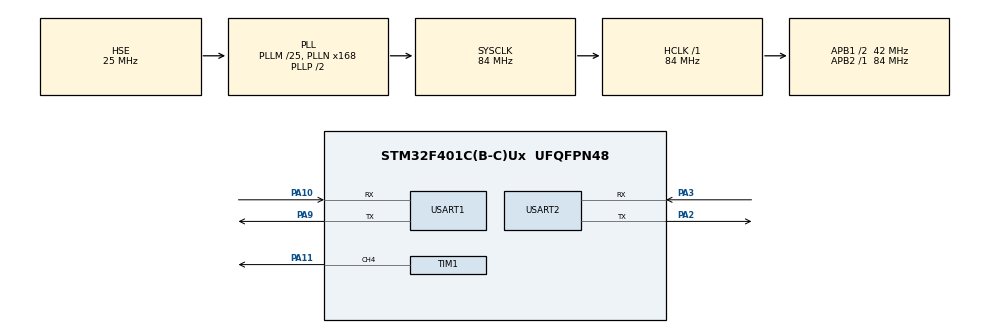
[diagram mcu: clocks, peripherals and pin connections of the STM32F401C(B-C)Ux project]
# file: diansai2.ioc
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Dma.Request0=USART1_RX
Dma.Request1=USART1_TX
Dma.Request2=USART2_RX
Dma.Request3=USART2_TX
Dma.USART1_RX.0.Direction=DMA_PERIPH_TO_MEMORY
Dma.USART1_RX.0.FIFOMode=DMA_FIFOMODE_DISABLE
Dma.USART1_RX.0.Instance=DMA2_Stream2
Dma.USART1_RX.0.MemDataAlignment=DMA_MDATAALIGN_BYTE
Dma.USART1_RX.0.MemInc=DMA_MINC_ENABLE
Dma.USART1_RX.0.Mode=DMA_NORMAL
Dma.USART1_RX.0.PeriphDataAlignment=DMA_PDATAALIGN_BYTE
Dma.USART1_RX.0.PeriphInc=DMA_PINC_DISABLE
Dma.USART1_RX.0.Priority=DMA_PRIORITY_LOW
Dma.USART1_TX.1.Direction=DMA_MEMORY_TO_PERIPH
Dma.USART1_TX.1.FIFOMode=DMA_FIFOMODE_DISABLE
Dma.USART1_TX.1.Instance=DMA2_Stream7
Dma.USART1_TX.1.MemDataAlignment=DMA_MDATAALIGN_BYTE
Dma.USART1_TX.1.MemInc=DMA_MINC_ENABLE
Dma.USART1_TX.1.Mode=DMA_NORMAL
Dma.USART1_TX.1.PeriphDataAlignment=DMA_PDATAALIGN_BYTE
Dma.USART1_TX.1.PeriphInc=DMA_PINC_DISABLE
Dma.USART1_TX.1.Priority=DMA_PRIORITY_LOW
Dma.USART2_RX.2.Direction=DMA_PERIPH_TO_MEMORY
Dma.USART2_RX.2.FIFOMode=DMA_FIFOMODE_DISABLE
Dma.USART2_RX.2.Instance=DMA1_Stream5
Dma.USART2_RX.2.MemDataAlignment=DMA_MDATAALIGN_BYTE
Dma.USART2_RX.2.MemInc=DMA_MINC_ENABLE
Dma.USART2_RX.2.Mode=DMA_NORMAL
Dma.USART2_RX.2.PeriphDataAlignment=DMA_PDATAALIGN_BYTE
Dma.USART2_RX.2.PeriphInc=DMA_PINC_DISABLE
Dma.USART2_RX.2.Priority=DMA_PRIORITY_LOW
Dma.USART2_TX.3.Direction=DMA_MEMORY_TO_PERIPH
Dma.USART2_TX.3.FIFOMode=DMA_FIFOMODE_DISABLE
Dma.USART2_TX.3.Instance=DMA1_Stream6
Dma.USART2_TX.3.MemDataAlignment=DMA_MDATAALIGN_BYTE
Dma.USART2_TX.3.MemInc=DMA_MINC_ENABLE
Dma.USART2_TX.3.Mode=DMA_NORMAL
Dma.USART2_TX.3.PeriphDataAlignment=DMA_PDATAALIGN_BYTE
Dma.USART2_TX.3.PeriphInc=DMA_PINC_DISABLE
Dma.USART2_TX.3.Priority=DMA_PRIORITY_LOW
Mcu.Family=STM32F4
Mcu.Name=STM32F401C(B-C)Ux
Mcu.Package=UFQFPN48
NVIC.DMA1_Stream5_IRQn=true\:0\:0\:false\:false\:true\:false\:true\:true
NVIC.DMA1_Stream6_IRQn=true\:0\:0\:false\:false\:true\:false\:true\:true
NVIC.DMA2_Stream2_IRQn=true\:0\:0\:false\:false\:true\:false\:true\:true
NVIC.DMA2_Stream7_IRQn=true\:0\:0\:false\:false\:true\:false\:true\:true
NVIC.PriorityGroup=NVIC_PRIORITYGROUP_4
NVIC.USART1_IRQn=true\:0\:0\:false\:false\:true\:true\:true\:true
NVIC.USART2_IRQn=true\:0\:0\:false\:false\:true\:true\:true\:true
PA10.Mode=Asynchronous
PA10.Signal=USART1_RX
PA11.Signal=S_TIM1_CH4
PA13.Mode=Serial_Wire
PA13.Signal=SYS_JTMS-SWDIO
PA14.Mode=Serial_Wire
PA14.Signal=SYS_JTCK-SWCLK
PA2.Mode=Asynchronous
PA2.Signal=USART2_TX
PA3.Mode=Asynchronous
PA3.Signal=USART2_RX
PA9.Mode=Asynchronous
PA9.Signal=USART1_TX
PH0\ -\ OSC_IN.Mode=HSE-External-Oscillator
PH0\ -\ OSC_IN.Signal=RCC_OSC_IN
PH1\ -\ OSC_OUT.Mode=HSE-External-Oscillator
PH1\ -\ OSC_OUT.Signal=RCC_OSC_OUT
ProjectManager.HeapSize=0x200
ProjectManager.StackSize=0x400
ProjectManager.TargetToolchain=MDK-ARM V5.32
RCC.48MHZClocksFreq_Value=42000000
RCC.AHBFreq_Value=84000000
RCC.APB1CLKDivider=RCC_HCLK_DIV2
RCC.APB1Freq_Value=42000000
RCC.APB1TimFreq_Value=84000000
RCC.APB2Freq_Value=84000000
RCC.APB2TimFreq_Value=84000000
RCC.CortexFreq_Value=84000000
RCC.HCLKFreq_Value=84000000
RCC.HSE_VALUE=25000000
RCC.HSI_VALUE=16000000
RCC.LSE_VALUE=32768
RCC.PLLM=25
RCC.PLLN=168
RCC.PLLSourceVirtual=RCC_PLLSOURCE_HSE
RCC.SYSCLKFreq_VALUE=84000000
RCC.SYSCLKSource=RCC_SYSCLKSOURCE_PLLCLK
RCC.VCOOutputFreq_Value=168000000
SH.S_TIM1_CH4.0=TIM1_CH4,PWM Generation4 CH4
TIM1.Channel-PWM\ Generation4\ CH4=TIM_CHANNEL_4
TIM1.Period=20000-1
TIM1.Prescaler=84-1
USART1.VirtualMode=VM_ASYNC
USART2.VirtualMode=VM_ASYNC
VP_TIM1_VS_ClockSourceINT.Mode=Internal
board=custom

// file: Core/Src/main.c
/* USER CODE BEGIN Header */
/**
  ******************************************************************************
  * @file           : main.c
  * @brief          : Main program body
  ******************************************************************************
  * @attention
  *
  * Copyright (c) 2026 STMicroelectronics.
  * All rights reserved.
  *
  * This software is licensed under terms that can be found in the LICENSE file
  * in the root directory of this software component.
  * If no LICENSE file comes with this software, it is provided AS-IS.
  *
  ******************************************************************************
  */
/* USER CODE END Header */
#include "main.h"
#include "dma.h"
#include "tim.h"
#include "usart.h"
#include "gpio.h"

/* USER CODE BEGIN Includes */
#include "stdio.h"
#include "string.h"
#include "math.h"
/* USER CODE END Includes */

/* USER CODE BEGIN PD */
#define RATE_X 1
#define RATE_Y 1
/* USER CODE END PD */

/* USER CODE BEGIN PV */
uint8_t ReceiveData[6];
uint8_t TransmitData[4];

int uart_flag=0;
uint8_t servo_angle=0;
/* USER CODE END PV */

void SystemClock_Config(void);

/* USER CODE BEGIN 0 */
void Servo_SetAngle(float Angle,uint8_t direction)
{
	if(direction>0)
	{
	__HAL_TIM_SetCompare(&htim1,TIM_CHANNEL_4,fmax(servo_angle-Angle/180*2000+500,0));
	}
	else
	{
	__HAL_TIM_SetCompare(&htim1,TIM_CHANNEL_4,fmin(servo_angle-Angle/180*2000+500,180));
	}
}

void HAL_UART_RxCpltCallback(UART_HandleTypeDef *huart)
{
	if (huart==&huart1)
	{

		uart_flag=1;
		HAL_UART_Transmit(&huart1,ReceiveData,6,100);
		HAL_UART_Receive_IT(&huart1,ReceiveData,6);

	}
}
/* USER CODE END 0 */

int main(void)
{

  /* MCU Configuration--------------------------------------------------------*/

  /* Reset of all peripherals, Initializes the Flash interface and the Systick. */
  HAL_Init();

  /* Configure the system clock */
  SystemClock_Config();

  /* Initialize all configured peripherals */
  MX_GPIO_Init();
  MX_DMA_Init();
  MX_USART1_UART_Init();
  MX_USART2_UART_Init();
  MX_TIM1_Init();
  /* USER CODE BEGIN 2 */
HAL_TIM_PWM_Start(&htim1,TIM_CHANNEL_4);
HAL_UART_Receive_IT(&huart1,ReceiveData,6);

  /* USER CODE END 2 */

  /* Infinite loop */
  /* USER CODE BEGIN WHILE */
  while (1)
  {	HAL_UART_Transmit(&huart1,ReceiveData,6,100);
		HAL_Delay(1000);
		int move_x=0,move_y=0;
		int x_direct=0,y_direct=0;

		if(uart_flag==1)
		{

		 //读取串口信息
			if(ReceiveData[0]==0xAA && ReceiveData[5]==0xBB)
			{

				move_x=ReceiveData[3]-ReceiveData[1];
				move_y=ReceiveData[4]-ReceiveData[2];
				//方向判断
				x_direct=(move_x>0)? 0:1;
				y_direct=(move_y>0)? 0:1;
				//位移取正
				move_x=(move_x>0)? move_x:-move_x;
				move_y=(move_y>0)? move_y:-move_y;

				TransmitData[0]=x_direct;
				TransmitData[1]=move_x;
				TransmitData[2]=y_direct;
				TransmitData[3]=move_y;
				HAL_UART_Transmit(&huart1,TransmitData,6,100);
				//电机转动和现实位置比值
				move_x=move_x*RATE_X;
				move_y=move_y*RATE_Y;

				uart_flag=0;
				//控制舵机
			Servo_SetAngle(move_y,y_direct);
			//控制电机，参考例程中位置模式

		  }

		}
    /* USER CODE END WHILE */

  }
}

void SystemClock_Config(void)
{
  RCC_OscInitTypeDef RCC_OscInitStruct = {0};
  RCC_ClkInitTypeDef RCC_ClkInitStruct = {0};

  /** Configure the main internal regulator output voltage
  */
  __HAL_RCC_PWR_CLK_ENABLE();
  __HAL_PWR_VOLTAGESCALING_CONFIG(PWR_REGULATOR_VOLTAGE_SCALE2);

  /** Initializes the RCC Oscillators according to the specified parameters
  * in the RCC_OscInitTypeDef structure.
  */
  RCC_OscInitStruct.OscillatorType = RCC_OSCILLATORTYPE_HSE;
  RCC_OscInitStruct.HSEState = RCC_HSE_ON;
  RCC_OscInitStruct.PLL.PLLState = RCC_PLL_ON;
  RCC_OscInitStruct.PLL.PLLSource = RCC_PLLSOURCE_HSE;
  RCC_OscInitStruct.PLL.PLLM = 25;
  RCC_OscInitStruct.PLL.PLLN = 168;
  RCC_OscInitStruct.PLL.PLLP = RCC_PLLP_DIV2;
  RCC_OscInitStruct.PLL.PLLQ = 4;
  if (HAL_RCC_OscConfig(&RCC_OscInitStruct) != HAL_OK)
  {
    Error_Handler();
  }

  /** Initializes the CPU, AHB and APB buses clocks
  */
  RCC_ClkInitStruct.ClockType = RCC_CLOCKTYPE_HCLK|RCC_CLOCKTYPE_SYSCLK
                              |RCC_CLOCKTYPE_PCLK1|RCC_CLOCKTYPE_PCLK2;
  RCC_ClkInitStruct.SYSCLKSource = RCC_SYSCLKSOURCE_PLLCLK;
  RCC_ClkInitStruct.AHBCLKDivider = RCC_SYSCLK_DIV1;
  RCC_ClkInitStruct.APB1CLKDivider = RCC_HCLK_DIV2;
  RCC_ClkInitStruct.APB2CLKDivider = RCC_HCLK_DIV1;

  if (HAL_RCC_ClockConfig(&RCC_ClkInitStruct, FLASH_LATENCY_2) != HAL_OK)
  {
    Error_Handler();
  }
}

void Error_Handler(void)
{
  __disable_irq();
  while (1)
  {
  }
}
